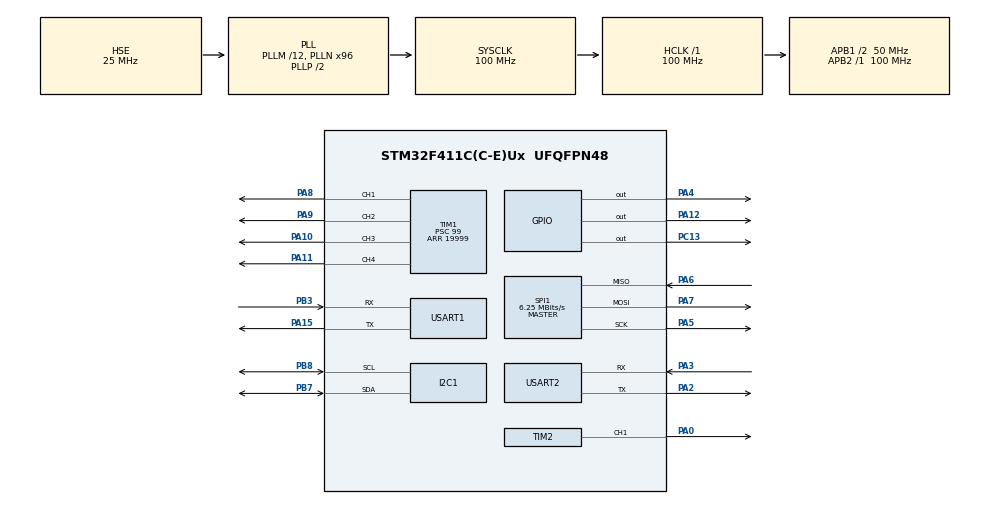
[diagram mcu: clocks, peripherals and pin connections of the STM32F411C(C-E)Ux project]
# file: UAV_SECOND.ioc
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Dma.Request0=USART2_RX
Dma.USART2_RX.0.Direction=DMA_PERIPH_TO_MEMORY
Dma.USART2_RX.0.FIFOMode=DMA_FIFOMODE_DISABLE
Dma.USART2_RX.0.Instance=DMA1_Stream5
Dma.USART2_RX.0.MemDataAlignment=DMA_MDATAALIGN_BYTE
Dma.USART2_RX.0.MemInc=DMA_MINC_ENABLE
Dma.USART2_RX.0.Mode=DMA_CIRCULAR
Dma.USART2_RX.0.PeriphDataAlignment=DMA_PDATAALIGN_BYTE
Dma.USART2_RX.0.PeriphInc=DMA_PINC_DISABLE
Dma.USART2_RX.0.Priority=DMA_PRIORITY_LOW
Mcu.Family=STM32F4
Mcu.Name=STM32F411C(C-E)Ux
Mcu.Package=UFQFPN48
NVIC.DMA1_Stream5_IRQn=true\:1\:0\:true\:false\:true\:false\:true\:true
NVIC.PriorityGroup=NVIC_PRIORITYGROUP_4
NVIC.TIM1_TRG_COM_TIM11_IRQn=true\:1\:0\:true\:false\:true\:true\:true\:true
PA0-WKUP.Signal=S_TIM2_CH1_ETR
PA10.Signal=S_TIM1_CH3
PA11.Signal=S_TIM1_CH4
PA12.Signal=GPIO_Output
PA13.Mode=Serial_Wire
PA13.Signal=SYS_JTMS-SWDIO
PA14.Mode=Serial_Wire
PA14.Signal=SYS_JTCK-SWCLK
PA15.Mode=Asynchronous
PA15.Signal=USART1_TX
PA2.Mode=Asynchronous
PA2.Signal=USART2_TX
PA3.Mode=Asynchronous
PA3.Signal=USART2_RX
PA4.Signal=GPIO_Output
PA5.Mode=Full_Duplex_Master
PA5.Signal=SPI1_SCK
PA6.Mode=Full_Duplex_Master
PA6.Signal=SPI1_MISO
PA7.Mode=Full_Duplex_Master
PA7.Signal=SPI1_MOSI
PA8.Signal=S_TIM1_CH1
PA9.Signal=S_TIM1_CH2
PB3.Mode=Asynchronous
PB3.Signal=USART1_RX
PB7.Mode=I2C
PB7.Signal=I2C1_SDA
PB8.Mode=I2C
PB8.Signal=I2C1_SCL
PC13-ANTI_TAMP.Signal=GPIO_Output
PH0\ -\ OSC_IN.Mode=HSE-External-Oscillator
PH0\ -\ OSC_IN.Signal=RCC_OSC_IN
PH1\ -\ OSC_OUT.Mode=HSE-External-Oscillator
PH1\ -\ OSC_OUT.Signal=RCC_OSC_OUT
ProjectManager.HeapSize=0x200
ProjectManager.StackSize=0x400
ProjectManager.TargetToolchain=STM32CubeIDE
RCC.48MHZClocksFreq_Value=50000000
RCC.AHBFreq_Value=100000000
RCC.APB1CLKDivider=RCC_HCLK_DIV2
RCC.APB1Freq_Value=50000000
RCC.APB1TimFreq_Value=100000000
RCC.APB2Freq_Value=100000000
RCC.APB2TimFreq_Value=100000000
RCC.CortexFreq_Value=100000000
RCC.HCLKFreq_Value=100000000
RCC.HSE_VALUE=25000000
RCC.HSI_VALUE=16000000
RCC.LSE_VALUE=32768
RCC.PLLM=12
RCC.PLLN=96
RCC.PLLSourceVirtual=RCC_PLLSOURCE_HSE
RCC.SYSCLKFreq_VALUE=100000000
RCC.SYSCLKSource=RCC_SYSCLKSOURCE_PLLCLK
RCC.VCOOutputFreq_Value=200000000
SH.S_TIM1_CH1.0=TIM1_CH1,PWM Generation1 CH1
SH.S_TIM1_CH2.0=TIM1_CH2,PWM Generation2 CH2
SH.S_TIM1_CH3.0=TIM1_CH3,PWM Generation3 CH3
SH.S_TIM1_CH4.0=TIM1_CH4,PWM Generation4 CH4
SH.S_TIM2_CH1_ETR.0=TIM2_CH1,PWM Generation1 CH1
SPI1.BaudRatePrescaler=SPI_BAUDRATEPRESCALER_16
SPI1.CLKPhase=SPI_PHASE_2EDGE
SPI1.CLKPolarity=SPI_POLARITY_HIGH
SPI1.CalculateBaudRate=6.25 MBits/s
SPI1.Direction=SPI_DIRECTION_2LINES
SPI1.Mode=SPI_MODE_MASTER
SPI1.VirtualType=VM_MASTER
TIM1.Channel-PWM\ Generation1\ CH1=TIM_CHANNEL_1
TIM1.Channel-PWM\ Generation2\ CH2=TIM_CHANNEL_2
TIM1.Channel-PWM\ Generation3\ CH3=TIM_CHANNEL_3
TIM1.Channel-PWM\ Generation4\ CH4=TIM_CHANNEL_4
TIM1.Period=19999
TIM1.Prescaler=99
TIM11.Period=999
TIM11.Prescaler=999
TIM2.Channel-PWM\ Generation1\ CH1=TIM_CHANNEL_1
USART1.VirtualMode=VM_ASYNC
USART2.VirtualMode=VM_ASYNC
VP_TIM11_VS_ClockSourceINT.Mode=Enable_Timer
board=custom

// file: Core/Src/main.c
/* USER CODE BEGIN Header */
/**
  ******************************************************************************
  * @file           : main.c
  * @brief          : Main program body
  ******************************************************************************
  * @attention
  *
  * Copyright (c) 2025 STMicroelectronics.
  * All rights reserved.
  *
  * This software is licensed under terms that can be found in the LICENSE file
  * in the root directory of this software component.
  * If no LICENSE file comes with this software, it is provided AS-IS.
  *
  ******************************************************************************
  */
/* USER CODE END Header */
#include "main.h"

/* USER CODE BEGIN Includes */
#include "ibus.h"
#include "bmp280_with_kalman.h"
#include "icm20948_with_kalman.h"
#include "pid.h"
#include "control_motor.h"

/* USER CODE END Includes */

I2C_HandleTypeDef hi2c1;

SPI_HandleTypeDef hspi1;

TIM_HandleTypeDef htim1;
TIM_HandleTypeDef htim2;
TIM_HandleTypeDef htim11;

UART_HandleTypeDef huart1;
UART_HandleTypeDef huart2;
DMA_HandleTypeDef hdma_usart2_rx;

void SystemClock_Config(void);
static void MX_GPIO_Init(void);
static void MX_DMA_Init(void);
static void MX_I2C1_Init(void);
static void MX_SPI1_Init(void);
static void MX_TIM1_Init(void);
static void MX_TIM2_Init(void);
static void MX_USART1_UART_Init(void);
static void MX_USART2_UART_Init(void);
static void MX_TIM11_Init(void);
/* USER CODE BEGIN PFP */

//-----------------------iBus-------------------------
uint8_t data_receive_ibus[32];
IBUS_STATE_t ibus_state = IBUS_FREE;
FSiA6B_iBus iBus;
uint32_t time_checking_ibus = 0;
const uint16_t time_ibus_not_received = 5000;

//-----------------------ICM--------------------------
ICM_Data_t ICMSetPoint;
ICM_Data_t ICMData;
axises my_gyro;
axises my_accel;
axises my_mag;

//-----------------------BMP--------------------------
float altitude = 0;

//-----------------------PID--------------------------
Motor_param_t motor_param;

//-----------------------UAV--------------------------

void HAL_UART_RxCpltCallback(UART_HandleTypeDef *huart)
{
	if(huart->Instance == huart2.Instance)
	{
		if(iBus_Check_CHKSUM(data_receive_ibus, 32) == 1)
		{
			iBus_Parsing(data_receive_ibus, &iBus);
			iBus.isReceived = 1;
		}

	}
}

void HAL_TIM_PeriodElapsedCallback(TIM_HandleTypeDef *htim)
{
	if(htim->Instance == TIM11 && (motor_param.flyMode == FLY_MODE_ON || motor_param.flyMode == FLY_MODE_HOLD))
	{
		if(motor_param.flyMode == FLY_MODE_ON)
		{
			motor_param.PIDPitch.timesampling = motor_param.PIDRoll.timesampling = motor_param.PIDYaw.timesampling = 0.01;
			PIDControlAccel(&motor_param.PIDPitch, ICMData.pitch - ICMSetPoint.pitch, iBus.RH);
			PIDControlAccel(&motor_param.PIDRoll, ICMData.roll - ICMSetPoint.roll, iBus.RV);

			//motor_control(&htim1, &motor_param, iBus);
		}
		if(motor_param.flyMode == FLY_MODE_HOLD)
		{
			motor_param.PIDPitch.timesampling = motor_param.PIDRoll.timesampling = motor_param.PIDYaw.timesampling = 0.01;
			PIDControlAccel(&motor_param.PIDPitch, ICMData.pitch - ICMSetPoint.pitch, iBus.RH);
			PIDControlAccel(&motor_param.PIDRoll, ICMData.roll - ICMSetPoint.roll, iBus.RV);

			PIDControlAltitude(&motor_param.PIDAltitude, altitude, iBus.LV);
			//motor_control(&htim1, &motor_param, iBus);
		}
	}
}

void init_parameter_PID()
{
	//PID init
	PIDInit(&motor_param.PIDRoll, 0.6, 0.15, 0.01, 0.02);
	//PITCH
	//PIDInit(&PIDPitch,  0.0156, 0.0100, 0.0056, 0.01); //kp = 1, kd = 1, ki = 0.0040, timesampling = 0.04
	PIDInit(&motor_param.PIDPitch,  0.6, 0.15, 0.01, 0.02);
	//YAW
	//PIDInit(&PIDYaw, 0.125f, 0.0f, 0.000f, 0.01); //kp = 1, kd = 1, ki = 1, timesampling = 0.04
	PIDInit(&motor_param.PIDYaw, 1, 0.20, 0.0f, 0.01);
	//Altitude
	PIDInit(&motor_param.PIDAltitude, 1, 0.085, 0.0583, 0.01);
}

/* USER CODE END PFP */

int main(void)
{

  /* MCU Configuration--------------------------------------------------------*/

  /* Reset of all peripherals, Initializes the Flash interface and the Systick. */
  HAL_Init();

  /* Configure the system clock */
  SystemClock_Config();

  /* Initialize all configured peripherals */
  MX_GPIO_Init();
  MX_DMA_Init();
  MX_I2C1_Init();
  MX_SPI1_Init();
  MX_TIM1_Init();
  MX_TIM2_Init();
  MX_USART1_UART_Init();
  MX_USART2_UART_Init();
  MX_TIM11_Init();
  /* USER CODE BEGIN 2 */

    //Set parameter of timer1
  htim1.Instance->ARR = 19999;
  htim1.Instance->PSC = 99;

  motor_init(&htim1);
  init_parameter_PID();

  //interupt timer 11
  HAL_TIM_Base_Start_IT(&htim11);
  //  icm20948_init();
  //  ak09916_init();
    ICM_Filter_Kalman_Init();
    //BMP_Filter_Kalman_Init();
    ICMRef(&ICMSetPoint);

    HAL_UART_Receive_DMA(&huart2, data_receive_ibus, 32);

  /* USER CODE END 2 */

  /* Infinite loop */
  /* USER CODE BEGIN WHILE */
  while (1)
  {
//	  icm20948_gyro_read_dps(&my_gyro);
//	  icm20948_accel_read_g(&my_accel);
//	  ak09916_mag_read_uT(&my_mag);
//	  getICMAccel(&my_accel);
//	  getICMGyro(&my_gyro);
	  getICMMag(&my_mag);
	  getICMData(&ICMData);
	  getBMPAltitude(&altitude);

	  if(iBus.isReceived == 1)
	  {
		  iBus.isReceived = 0;
		  time_checking_ibus = HAL_GetTick();
	  }

	  if(HAL_GetTick() < time_checking_ibus)
	  {
		  time_checking_ibus = HAL_GetTick();
	  }

	  if(HAL_GetTick() - time_checking_ibus > time_ibus_not_received)
	  {
		  GPIOC->ODR |= 1 << 13;
	  }
	  else
	  {
		  GPIOC->ODR &= ~(0x01 << 13);
	  }

	  if(iBus.SwA < 1200 || (HAL_GetTick() - time_checking_ibus > time_ibus_not_received))
	  {
		  motor_param.flyMode = FLY_MODE_OFF;
		  motor_stop(&htim1);
	  }
	  else if(iBus.SwA < 1800)
	  {
//		  motor_param.PIDPitch.timesampling = motor_param.PIDRoll.timesampling = motor_param.PIDYaw.timesampling = 0.01;
//		  PIDControlAccel(&motor_param.PIDPitch, ICMData.pitch - ICMSetPoint.pitch, iBus.RH);
//		  PIDControlAccel(&motor_param.PIDRoll, ICMData.roll - ICMSetPoint.roll, iBus.RV);
//
//		  PIDControlAltitude(&motor_param.PIDAltitude, altitude, iBus.LV);
		  motor_param.flyMode = FLY_MODE_HOLD;
		  motor_control(&htim1, &motor_param, iBus);
	  }
	  else
	  {
		  motor_param.PIDPitch.timesampling = motor_param.PIDRoll.timesampling = motor_param.PIDYaw.timesampling = 0.01;
		  PIDControlAccel(&motor_param.PIDPitch, ICMData.pitch - ICMSetPoint.pitch, iBus.RH);
		  PIDControlAccel(&motor_param.PIDRoll, ICMData.roll - ICMSetPoint.roll, iBus.RV);

		  motor_param.flyMode = FLY_MODE_ON;
		  motor_control(&htim1, &motor_param, iBus);
	  }

    /* USER CODE END WHILE */

  }
}

void SystemClock_Config(void)
{
  RCC_OscInitTypeDef RCC_OscInitStruct = {0};
  RCC_ClkInitTypeDef RCC_ClkInitStruct = {0};

  /** Configure the main internal regulator output voltage
  */
  __HAL_RCC_PWR_CLK_ENABLE();
  __HAL_PWR_VOLTAGESCALING_CONFIG(PWR_REGULATOR_VOLTAGE_SCALE1);

  /** Initializes the RCC Oscillators according to the specified parameters
  * in the RCC_OscInitTypeDef structure.
  */
  RCC_OscInitStruct.OscillatorType = RCC_OSCILLATORTYPE_HSE;
  RCC_OscInitStruct.HSEState = RCC_HSE_ON;
  RCC_OscInitStruct.PLL.PLLState = RCC_PLL_ON;
  RCC_OscInitStruct.PLL.PLLSource = RCC_PLLSOURCE_HSE;
  RCC_OscInitStruct.PLL.PLLM = 12;
  RCC_OscInitStruct.PLL.PLLN = 96;
  RCC_OscInitStruct.PLL.PLLP = RCC_PLLP_DIV2;
  RCC_OscInitStruct.PLL.PLLQ = 4;
  if (HAL_RCC_OscConfig(&RCC_OscInitStruct) != HAL_OK)
  {
    Error_Handler();
  }

  /** Initializes the CPU, AHB and APB buses clocks
  */
  RCC_ClkInitStruct.ClockType = RCC_CLOCKTYPE_HCLK|RCC_CLOCKTYPE_SYSCLK
                              |RCC_CLOCKTYPE_PCLK1|RCC_CLOCKTYPE_PCLK2;
  RCC_ClkInitStruct.SYSCLKSource = RCC_SYSCLKSOURCE_PLLCLK;
  RCC_ClkInitStruct.AHBCLKDivider = RCC_SYSCLK_DIV1;
  RCC_ClkInitStruct.APB1CLKDivider = RCC_HCLK_DIV2;
  RCC_ClkInitStruct.APB2CLKDivider = RCC_HCLK_DIV1;

  if (HAL_RCC_ClockConfig(&RCC_ClkInitStruct, FLASH_LATENCY_3) != HAL_OK)
  {
    Error_Handler();
  }
}

static void MX_I2C1_Init(void)
{

  hi2c1.Instance = I2C1;
  hi2c1.Init.ClockSpeed = 100000;
  hi2c1.Init.DutyCycle = I2C_DUTYCYCLE_2;
  hi2c1.Init.OwnAddress1 = 0;
  hi2c1.Init.AddressingMode = I2C_ADDRESSINGMODE_7BIT;
  hi2c1.Init.DualAddressMode = I2C_DUALADDRESS_DISABLE;
  hi2c1.Init.OwnAddress2 = 0;
  hi2c1.Init.GeneralCallMode = I2C_GENERALCALL_DISABLE;
  hi2c1.Init.NoStretchMode = I2C_NOSTRETCH_DISABLE;
  if (HAL_I2C_Init(&hi2c1) != HAL_OK)
  {
    Error_Handler();
  }

}

static void MX_SPI1_Init(void)
{

  /* SPI1 parameter configuration*/
  hspi1.Instance = SPI1;
  hspi1.Init.Mode = SPI_MODE_MASTER;
  hspi1.Init.Direction = SPI_DIRECTION_2LINES;
  hspi1.Init.DataSize = SPI_DATASIZE_8BIT;
  hspi1.Init.CLKPolarity = SPI_POLARITY_HIGH;
  hspi1.Init.CLKPhase = SPI_PHASE_2EDGE;
  hspi1.Init.NSS = SPI_NSS_SOFT;
  hspi1.Init.BaudRatePrescaler = SPI_BAUDRATEPRESCALER_16;
  hspi1.Init.FirstBit = SPI_FIRSTBIT_MSB;
  hspi1.Init.TIMode = SPI_TIMODE_DISABLE;
  hspi1.Init.CRCCalculation = SPI_CRCCALCULATION_DISABLE;
  hspi1.Init.CRCPolynomial = 10;
  if (HAL_SPI_Init(&hspi1) != HAL_OK)
  {
    Error_Handler();
  }

}

static void MX_TIM1_Init(void)
{

  TIM_MasterConfigTypeDef sMasterConfig = {0};
  TIM_OC_InitTypeDef sConfigOC = {0};
  TIM_BreakDeadTimeConfigTypeDef sBreakDeadTimeConfig = {0};

  htim1.Instance = TIM1;
  htim1.Init.Prescaler = 99;
  htim1.Init.CounterMode = TIM_COUNTERMODE_UP;
  htim1.Init.Period = 19999;
  htim1.Init.ClockDivision = TIM_CLOCKDIVISION_DIV1;
  htim1.Init.RepetitionCounter = 0;
  htim1.Init.AutoReloadPreload = TIM_AUTORELOAD_PRELOAD_DISABLE;
  if (HAL_TIM_PWM_Init(&htim1) != HAL_OK)
  {
    Error_Handler();
  }
  sMasterConfig.MasterOutputTrigger = TIM_TRGO_RESET;
  sMasterConfig.MasterSlaveMode = TIM_MASTERSLAVEMODE_DISABLE;
  if (HAL_TIMEx_MasterConfigSynchronization(&htim1, &sMasterConfig) != HAL_OK)
  {
    Error_Handler();
  }
  sConfigOC.OCMode = TIM_OCMODE_PWM1;
  sConfigOC.Pulse = 0;
  sConfigOC.OCPolarity = TIM_OCPOLARITY_HIGH;
  sConfigOC.OCNPolarity = TIM_OCNPOLARITY_HIGH;
  sConfigOC.OCFastMode = TIM_OCFAST_DISABLE;
  sConfigOC.OCIdleState = TIM_OCIDLESTATE_RESET;
  sConfigOC.OCNIdleState = TIM_OCNIDLESTATE_RESET;
  if (HAL_TIM_PWM_ConfigChannel(&htim1, &sConfigOC, TIM_CHANNEL_1) != HAL_OK)
  {
    Error_Handler();
  }
  if (HAL_TIM_PWM_ConfigChannel(&htim1, &sConfigOC, TIM_CHANNEL_2) != HAL_OK)
  {
    Error_Handler();
  }
  if (HAL_TIM_PWM_ConfigChannel(&htim1, &sConfigOC, TIM_CHANNEL_3) != HAL_OK)
  {
    Error_Handler();
  }
  if (HAL_TIM_PWM_ConfigChannel(&htim1, &sConfigOC, TIM_CHANNEL_4) != HAL_OK)
  {
    Error_Handler();
  }
  sBreakDeadTimeConfig.OffStateRunMode = TIM_OSSR_DISABLE;
  sBreakDeadTimeConfig.OffStateIDLEMode = TIM_OSSI_DISABLE;
  sBreakDeadTimeConfig.LockLevel = TIM_LOCKLEVEL_OFF;
  sBreakDeadTimeConfig.DeadTime = 0;
  sBreakDeadTimeConfig.BreakState = TIM_BREAK_DISABLE;
  sBreakDeadTimeConfig.BreakPolarity = TIM_BREAKPOLARITY_HIGH;
  sBreakDeadTimeConfig.AutomaticOutput = TIM_AUTOMATICOUTPUT_DISABLE;
  if (HAL_TIMEx_ConfigBreakDeadTime(&htim1, &sBreakDeadTimeConfig) != HAL_OK)
  {
    Error_Handler();
  }
  HAL_TIM_MspPostInit(&htim1);

}

static void MX_TIM2_Init(void)
{

  TIM_MasterConfigTypeDef sMasterConfig = {0};
  TIM_OC_InitTypeDef sConfigOC = {0};

  htim2.Instance = TIM2;
  htim2.Init.Prescaler = 0;
  htim2.Init.CounterMode = TIM_COUNTERMODE_UP;
  htim2.Init.Period = 4294967295;
  htim2.Init.ClockDivision = TIM_CLOCKDIVISION_DIV1;
  htim2.Init.AutoReloadPreload = TIM_AUTORELOAD_PRELOAD_DISABLE;
  if (HAL_TIM_PWM_Init(&htim2) != HAL_OK)
  {
    Error_Handler();
  }
  sMasterConfig.MasterOutputTrigger = TIM_TRGO_RESET;
  sMasterConfig.MasterSlaveMode = TIM_MASTERSLAVEMODE_DISABLE;
  if (HAL_TIMEx_MasterConfigSynchronization(&htim2, &sMasterConfig) != HAL_OK)
  {
    Error_Handler();
  }
  sConfigOC.OCMode = TIM_OCMODE_PWM1;
  sConfigOC.Pulse = 0;
  sConfigOC.OCPolarity = TIM_OCPOLARITY_HIGH;
  sConfigOC.OCFastMode = TIM_OCFAST_DISABLE;
  if (HAL_TIM_PWM_ConfigChannel(&htim2, &sConfigOC, TIM_CHANNEL_1) != HAL_OK)
  {
    Error_Handler();
  }
  HAL_TIM_MspPostInit(&htim2);

}

static void MX_TIM11_Init(void)
{

  htim11.Instance = TIM11;
  htim11.Init.Prescaler = 999;
  htim11.Init.CounterMode = TIM_COUNTERMODE_UP;
  htim11.Init.Period = 999;
  htim11.Init.ClockDivision = TIM_CLOCKDIVISION_DIV1;
  htim11.Init.AutoReloadPreload = TIM_AUTORELOAD_PRELOAD_DISABLE;
  if (HAL_TIM_Base_Init(&htim11) != HAL_OK)
  {
    Error_Handler();
  }

}

static void MX_USART1_UART_Init(void)
{

  huart1.Instance = USART1;
  huart1.Init.BaudRate = 115200;
  huart1.Init.WordLength = UART_WORDLENGTH_8B;
  huart1.Init.StopBits = UART_STOPBITS_1;
  huart1.Init.Parity = UART_PARITY_NONE;
  huart1.Init.Mode = UART_MODE_TX_RX;
  huart1.Init.HwFlowCtl = UART_HWCONTROL_NONE;
  huart1.Init.OverSampling = UART_OVERSAMPLING_16;
  if (HAL_UART_Init(&huart1) != HAL_OK)
  {
    Error_Handler();
  }

}

static void MX_USART2_UART_Init(void)
{

  huart2.Instance = USART2;
  huart2.Init.BaudRate = 115200;
  huart2.Init.WordLength = UART_WORDLENGTH_8B;
  huart2.Init.StopBits = UART_STOPBITS_1;
  huart2.Init.Parity = UART_PARITY_NONE;
  huart2.Init.Mode = UART_MODE_TX_RX;
  huart2.Init.HwFlowCtl = UART_HWCONTROL_NONE;
  huart2.Init.OverSampling = UART_OVERSAMPLING_16;
  if (HAL_UART_Init(&huart2) != HAL_OK)
  {
    Error_Handler();
  }

}

static void MX_DMA_Init(void)
{

  /* DMA controller clock enable */
  __HAL_RCC_DMA1_CLK_ENABLE();

  /* DMA interrupt init */
  /* DMA1_Stream5_IRQn interrupt configuration */
  HAL_NVIC_SetPriority(DMA1_Stream5_IRQn, 1, 0);
  HAL_NVIC_EnableIRQ(DMA1_Stream5_IRQn);

}

static void MX_GPIO_Init(void)
{
  GPIO_InitTypeDef GPIO_InitStruct = {0};

  /* GPIO Ports Clock Enable */
  __HAL_RCC_GPIOC_CLK_ENABLE();
  __HAL_RCC_GPIOH_CLK_ENABLE();
  __HAL_RCC_GPIOA_CLK_ENABLE();
  __HAL_RCC_GPIOB_CLK_ENABLE();

  /*Configure GPIO pin Output Level */
  HAL_GPIO_WritePin(GPIOC, GPIO_PIN_13, GPIO_PIN_RESET);

  /*Configure GPIO pin Output Level */
  HAL_GPIO_WritePin(GPIOA, GPIO_PIN_4|GPIO_PIN_12, GPIO_PIN_RESET);

  /*Configure GPIO pin : PC13 */
  GPIO_InitStruct.Pin = GPIO_PIN_13;
  GPIO_InitStruct.Mode = GPIO_MODE_OUTPUT_PP;
  GPIO_InitStruct.Pull = GPIO_NOPULL;
  GPIO_InitStruct.Speed = GPIO_SPEED_FREQ_LOW;
  HAL_GPIO_Init(GPIOC, &GPIO_InitStruct);

  /*Configure GPIO pins : PA4 PA12 */
  GPIO_InitStruct.Pin = GPIO_PIN_4|GPIO_PIN_12;
  GPIO_InitStruct.Mode = GPIO_MODE_OUTPUT_PP;
  GPIO_InitStruct.Pull = GPIO_NOPULL;
  GPIO_InitStruct.Speed = GPIO_SPEED_FREQ_LOW;
  HAL_GPIO_Init(GPIOA, &GPIO_InitStruct);

}

void Error_Handler(void)
{
  __disable_irq();
  while (1)
  {
  }
}
